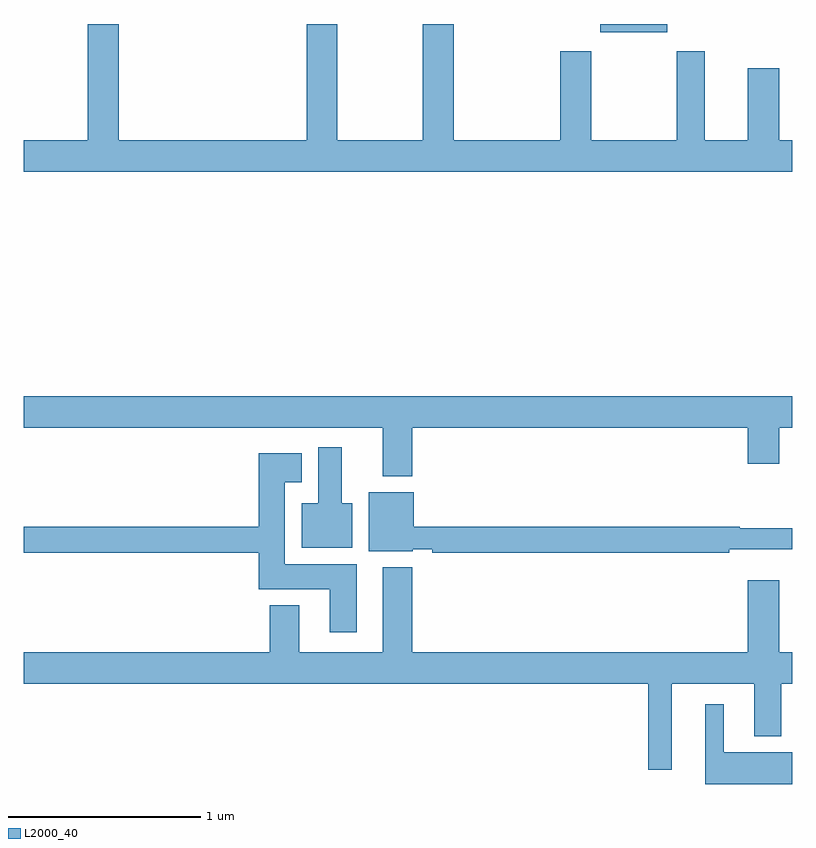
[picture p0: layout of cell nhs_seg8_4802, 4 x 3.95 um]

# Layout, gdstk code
import gdstk
lib = gdstk.Library(unit=1e-6, precision=1e-09)
def R(c, l, rs):  # rectangles x0, y0, x1, y1
    for r in rs: c.add(gdstk.rectangle(r[:2], r[2:], *l))
def P(c, l, *ps):  # polygons
    for p in ps: c.add(gdstk.Polygon(p, *l))
L2000_40 = (2000, 40)

nhs_seg8_4802 = lib.new_cell('nhs_seg8_4802')
R(nhs_seg8_4802, L2000_40, [(404,1151.858,404.35,1151.9)])
P(nhs_seg8_4802, L2000_40, [(405,1151.296),(404.932,1151.296),(404.932,1151.671),(404.768,1151.671),(404.768,1151.296),(404.545,1151.296),(404.545,1151.758),(404.398,1151.758),(404.398,1151.296),(403.953,1151.296),(403.953,1151.758),(403.793,1151.758),(403.793,1151.296),(403.238,1151.296),(403.238,1151.9),(403.078,1151.9),(403.078,1151.296),(402.633,1151.296),(402.633,1151.9),(402.473,1151.9),(402.473,1151.296),(401.495,1151.296),(401.495,1151.9),(401.335,1151.9),(401.335,1151.296),(401,1151.296),(401,1151.132),(405,1151.132)],
  [(403.022,1149.8),(404.768,1149.8),(404.768,1149.612),(404.932,1149.612),(404.932,1149.8),(405,1149.8),(405,1149.964),(401,1149.964),(401,1149.8),(402.869,1149.8),(402.869,1149.548),(403.022,1149.548)],
  [(402.709,1149.406),(402.655,1149.406),(402.655,1149.697),(402.533,1149.697),(402.533,1149.406),(402.446,1149.406),(402.446,1149.176),(402.709,1149.176)],
  [(402.733,1149.088),(402.358,1149.088),(402.358,1149.515),(402.448,1149.515),(402.448,1149.667),(402.224,1149.667),(402.224,1149.284),(401,1149.284),(401,1149.148),(402.224,1149.148),(402.224,1148.96),(402.593,1148.96),(402.593,1148.736),(402.733,1148.736)],
  [(404.672,1149.167),(405,1149.167),(405,1149.277),(404.726,1149.277),(404.726,1149.284),(403.03,1149.284),(403.03,1149.463),(402.797,1149.463),(402.797,1149.158),(403.026,1149.158),(403.026,1149.168),(403.126,1149.168),(403.126,1149.148),(404.672,1149.148)],
  [(404.371,1148.468),(404.801,1148.468),(404.801,1148.195),(404.941,1148.195),(404.941,1148.468),(405,1148.468),(405,1148.632),(404.932,1148.632),(404.932,1149.007),(404.768,1149.007),(404.768,1148.632),(403.022,1148.632),(403.022,1149.073),(402.869,1149.073),(402.869,1148.632),(402.433,1148.632),(402.433,1148.875),(402.281,1148.875),(402.281,1148.632),(401,1148.632),(401,1148.468),(404.25,1148.468),(404.25,1148.019),(404.371,1148.019)],
  [(405,1148.11),(404.644,1148.11),(404.644,1148.362),(404.546,1148.362),(404.546,1147.946),(405,1147.946)])

lib.write_gds('nhs_seg8_4802.gds')
